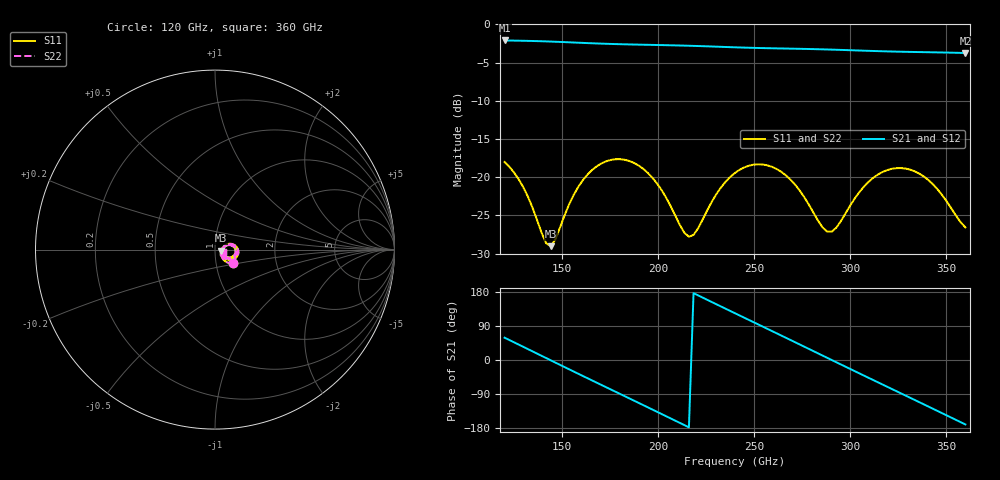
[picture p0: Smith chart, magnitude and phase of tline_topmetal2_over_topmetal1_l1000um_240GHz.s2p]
#  GHZ S DB R 50
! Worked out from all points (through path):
!   101 points, 120 GHz to 360 GHz, reference 50 ohm
!   highest |S21| = -2.09 dB at 120 GHz (marker M1); lowest = -3.7 dB at 360 GHz (marker M2)
!   group delay of S21, straight-line fit = 6.81 ps
!   lowest |S11| = -29.0 dB at 144 GHz (marker M3), VSWR 1.07, Z = 53.6 - j0.583 ohm
!   |S11| at or under -10 dB: start of sweep to end of sweep
!   |S22| runs from -28.8 to -17.6 dB; largest |S21 - S12| = 1.2e-13
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120  -18.01 -36.3  -2.09 58.8  -2.09 58.8  -18.01 -36.3
132  -22.48 -49.9  -2.15 29.1  -2.15 29.1  -22.45 -49.7
144  -29.04 -8.8  -2.24 -0.7  -2.24 -0.7  -28.85 -8.9
160.8  -20.38 19.8  -2.41 -42.3  -2.41 -42.3  -20.32 19.1
170.4  -18.20 5.9  -2.51 -65.8  -2.51 -65.8  -18.16 5.2
180  -17.64 -10.3  -2.58 -89.2  -2.58 -89.2  -17.60 -10.9
189.6  -18.44 -26.0  -2.64 -112.7  -2.64 -112.7  -18.40 -26.5
201.6  -21.62 -39.9  -2.70 -142.2  -2.70 -142.2  -21.56 -40.3
216  -27.79 -11.8  -2.78 -177.7  -2.78 -177.7  -27.59 -12.6
228  -23.18 21.4  -2.88 152.8  -2.88 152.8  -23.08 19.9
240  -19.44 11.5  -2.99 123.4  -2.99 123.4  -19.38 10.2
249.6  -18.36 -2.9  -3.06 99.9  -3.06 99.9  -18.32 -4.2
259.2  -18.64 -17.9  -3.12 76.5  -3.12 76.5  -18.60 -19.3
268.8  -20.29 -30.7  -3.16 53.0  -3.16 53.0  -20.26 -32.2
280.8  -24.62 -33.0  -3.22 23.5  -3.22 23.5  -24.63 -34.6
290.4  -27.14 -2.7  -3.29 -0.1  -3.29 -0.1  -27.21 -4.0
300  -23.71 19.3  -3.37 -23.6  -3.37 -23.6  -23.73 18.4
312  -20.08 12.7  -3.47 -52.9  -3.47 -52.9  -20.07 11.7
321.6  -18.91 -0.2  -3.54 -76.3  -3.54 -76.3  -18.88 -1.3
338.4  -19.92 -23.7  -3.62 -117.2  -3.62 -117.2  -19.89 -24.9
350.4  -23.22 -31.5  -3.68 -146.5  -3.68 -146.5  -23.18 -32.8
360  -26.58 -15.4  -3.73 -170.1  -3.73 -170.1  -26.54 -16.7
